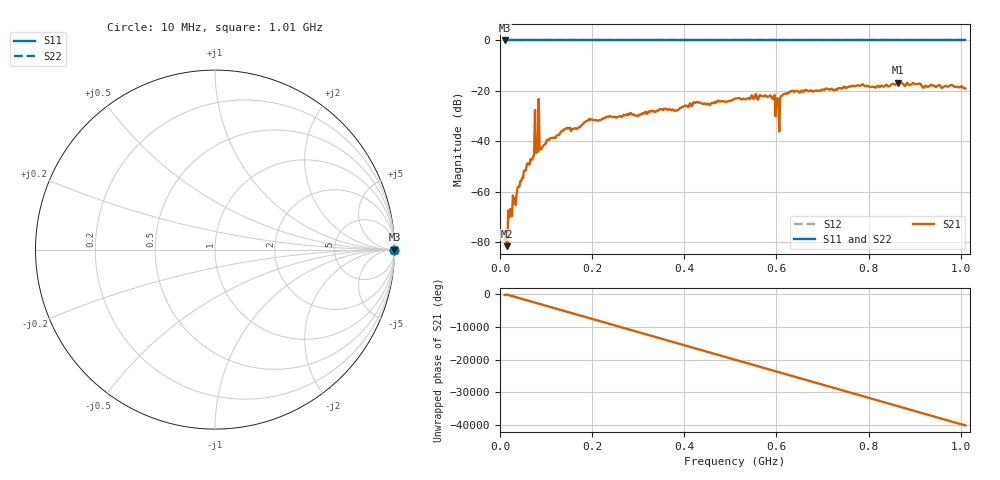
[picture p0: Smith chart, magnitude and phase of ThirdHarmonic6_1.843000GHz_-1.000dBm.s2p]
! 8/16/2025 10:18:39 PM
! C:\ANRITSUVNA\TEMP\TEMP.S2P
! CHANNEL.1
! TR.MEASUREMENT
! RAW.DATA
! RF.CORRECTION.OFF
! AVERAGING.OFF
! IF.BANDWIDTH: 5KHZ
! SWEEPTYPE:  FREQ.SWEEP(Linear)
! Reference Plane Port Info
! PORT:  PORT1  PORT2
! DISTANCE:  0  m  0  m
! TIME:  0  s  0  s
! PHASE.OFFSET:  0  deg.  0  deg.
! LOSS:  0  dB  0  dB
! REF.LOSS:  0  dB  0  dB
! REF.FREQ:  0  Hz  0  Hz
! Power Info
! POWER:  -20  dBm  -20  dBm
! EFF.POWER:  -20  dBm  -20  dBm
! SOURCE.ATTEN:  0  dB  0  dB
! TEST.ATTEN:  0  dB  0  dB
# GHZ S RI R 50.0
! FREQ.GHZ  S11RE  S11IM  S21RE  S21IM  S12RE  S12IM  S22RE  S22IM
!; PortSelection: Port_12
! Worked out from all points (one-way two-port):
!   501 points, 10 MHz to 1.01 GHz, reference 50 ohm
!   highest |S21| = -16.69 dB at 864 MHz (marker M1); lowest = -81.5 dB at 16 MHz (marker M2)
!   lowest |S11| = 0.0 dB at 10 MHz (marker M3)
!   |S11| at or under -10 dB: nowhere
!   |S22| runs from 0.0 to 0.0 dB; largest |S21 - S12| = 1.1
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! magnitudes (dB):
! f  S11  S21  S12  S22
! 10 MHz  0.0  -75.4  0.0  0.0
! 16 MHz  0.0  -81.5  0.0  0.0
! 22 MHz  0.0  -66.8  0.0  0.0
! 40 MHz  0.0  -58.0  0.0  0.0
! 70 MHz  0.0  -47.2  0.0  0.0
! 72 MHz  0.0  -46.2  0.0  0.0
! 78 MHz  0.0  -44.6  0.0  0.0
! 80 MHz  0.0  -43.7  0.0  0.0
! 82 MHz  0.0  -44.1  0.0  0.0
! 88 MHz  0.0  -42.6  0.0  0.0
! 90 MHz  0.0  -43.1  0.0  0.0
! 142 MHz  0.0  -35.1  0.0  0.0
! 178 MHz  0.0  -33.4  0.0  0.0
! 344 MHz  0.0  -27.8  0.0  0.0
! 510 MHz  0.0  -23.1  0.0  0.0
! 592 MHz  0.0  -23.2  0.0  0.0
! 602 MHz  0.0  -22.9  0.0  0.0
! 616 MHz  0.0  -21.2  0.0  0.0
! 678 MHz  0.0  -20.2  0.0  0.0
! 844 MHz  0.0  -18.3  0.0  0.0
! 864 MHz  0.0  -16.7  0.0  0.0
! 1.01 GHz  0.0  -19.0  0.0  0.0
